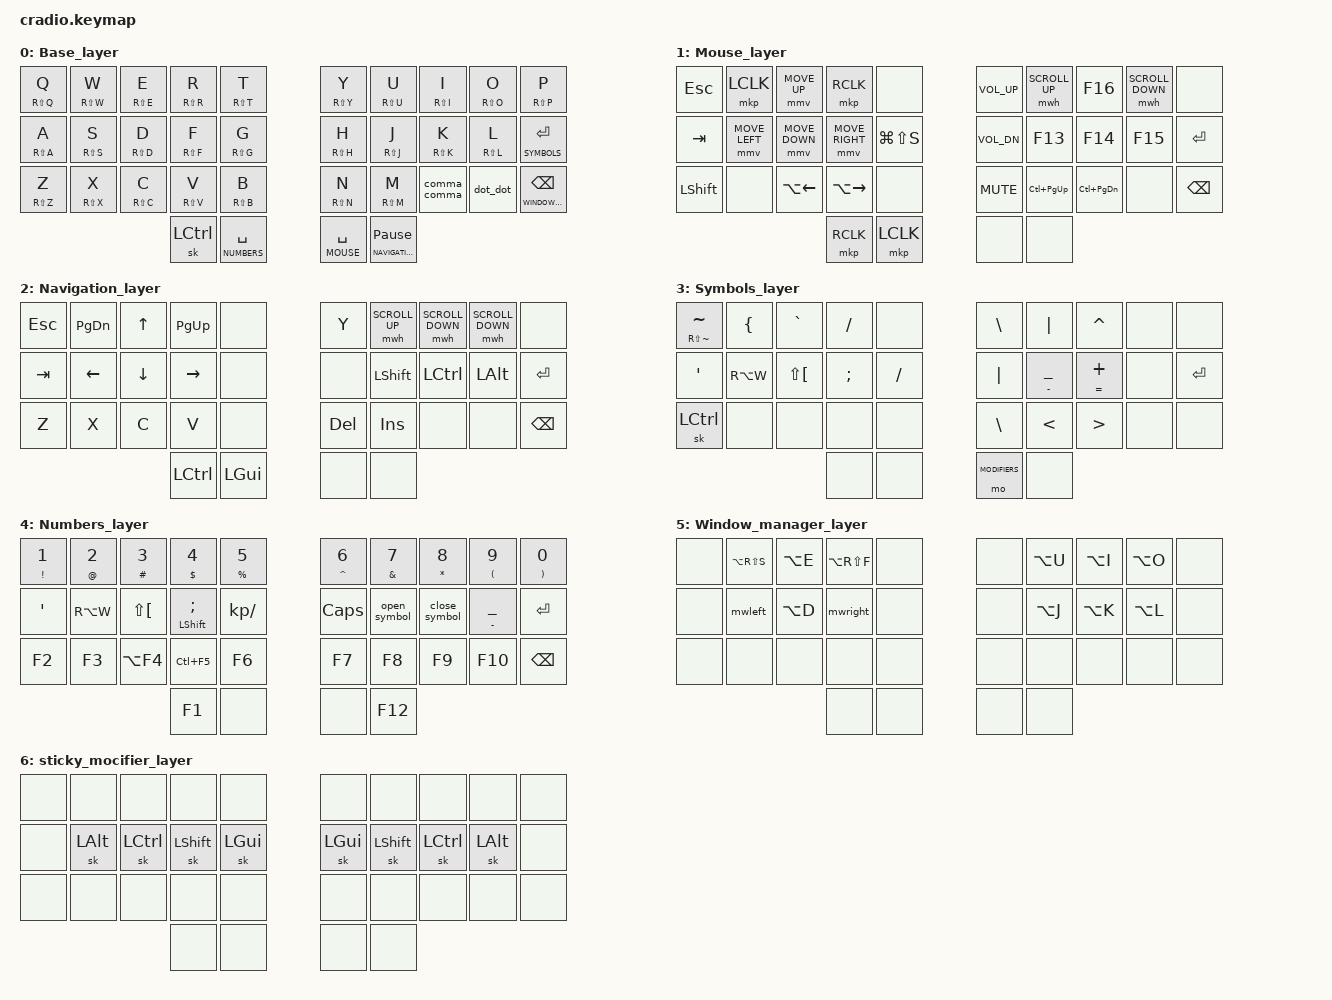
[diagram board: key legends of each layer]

#include <behaviors.dtsi>
#include <dt-bindings/zmk/keys.h>
#include <dt-bindings/zmk/outputs.h>
#include <dt-bindings/zmk/bt.h>
#include <dt-bindings/zmk/mouse.h>


#define BASE 0
#define NAVIGATION 1
#define MOUSE 2
#define SYMBOLS 3
#define NUMBERS 4
#define WINDOW_MANAGER 5
#define MODIFIERS 6



&mmv {
	time-to-max-speed-ms = <300>;
};

&mwh {
	acceleration-exponent=<1>;
};

&mt {
	tapping-term-ms = <300>;
	flavor = "tap-preferred";
};


/ { 

 /* ================== MACROS =========================*/

macros {
  mwleft: mwleft {
    label = "mwleft";
    compatible = "zmk,behavior-macro";
    #binding-cells = <0>;
    wait-ms = <10>;
	       bindings
                = <&macro_press &kp LGUI>
                , <&macro_tap &kp S>
                , <&macro_release &kp LGUI>
		, <&macro_tap_time 40>
		, <&macro_tap &kp PAUSE_BREAK>
                ;

    };

  mwright: mwright {
    label = "mwright";
    compatible = "zmk,behavior-macro";
    #binding-cells = <0>;
    wait-ms = <10>;
	       bindings
                = <&macro_press &kp LGUI>
                , <&macro_tap &kp F>
                , <&macro_release &kp LGUI>
		, <&macro_tap_time 40>
		, <&macro_tap &kp PAUSE_BREAK>
                ; 
    };

 };


 /* ================== COMBOS =========================*/

 combos {
   compatible = "zmk,combos";
 
 /* 
   ╭───────────────────────╮ ╭───────────────────────╮
   │   0   1   2   3   4   │ │   5   6   7   8   9   │
   │   10  11  12  13  14  │ │   15  16  17  18  19  │
   │   .   .   .   .   .   │ │   .   .   .   .   .   │
   ╰───────────╮   .   .   │ │   .   .   ╭───────────╯
               ╰───────────╯ ╰───────────╯
*/


   combo_ble1 {
     timeout-ms = <20>;
     key-positions = <0 1>;
     bindings = <&bt BT_SEL 1>;
   };

 
  combo_ble2 {
     timeout-ms = <20>;
     key-positions = <1 2>;
     bindings = <&bt BT_SEL 2>;
   };

 combo_tab {
     timeout-ms = <20>;
     key-positions = <12 13>;
     bindings = <&kp TAB>;
   };



  combo_back_tab {
     timeout-ms = <20>;
     key-positions = <12 13>;
     bindings = <&kp RS(TAB)>;
   };


  combo_enter {
     timeout-ms = <20>;
     key-positions = <12 13>;
     bindings = <&kp RETURN>;
   };


 };

behaviors {

   open_symbol: td_open {
     compatible = "zmk,behavior-tap-dance";
     label = "TD_OPEN";
     #binding-cells = <0>;
     tapping-term-ms = <200>;
     bindings = <&kp RS(RIGHT_BRACKET)>, <&kp RS(NUMBER_9)>, <&kp RIGHT_BRACKET>, <&kp LT>;
   };

   close_symbol: td_close {
     compatible = "zmk,behavior-tap-dance";
     label = "TD_CLOSE";
     #binding-cells = <0>;
     tapping-term-ms = <200>;
     bindings = <&kp RS(BACKSLASH)>, <&kp RS(NUMBER_0)>, <&kp BACKSLASH>, <&kp GT>;
   };

   dot_dot: dot_dot {
     compatible = "zmk,behavior-tap-dance";
     label = "DOT_DOT";
     #binding-cells = <0>;
     tapping-term-ms = <200>;
     bindings = <&kp PERIOD>, <&kp LS(SLASH)>;
  };

   comma_comma: comma_comma {
     compatible = "zmk,behavior-tap-dance";
     label = "COMMA_COMMA";
     #binding-cells = <0>;
     tapping-term-ms = <200>;
     bindings = <&kp COMMA>, <&kp SLASH>;
   };

 };

        keymap {
                compatible = "zmk,keymap";
                
			 /*                    BASE 
			 base layer contains autoshift on alpha chars
			 ╭──────────────────────╮ ╭──────────────────────╮
			 │   Q   W   E   R   T  │ │   Y   U   I   O   P  │
			 │   A   S   D   F   G  │ │   H   J   K   L   ENT│
			 │   Z   X   C   V   B  │ │   N   M   ,;  .:  LA │
			 ╰───────────╮   CTL SP │ │   NV  MOU╭───────────╯
			             ╰──────────╯ ╰──────────╯ 
		         */

			 Base_layer {
			   bindings = <
			     &mt RS(Q) Q      &mt RS(W) W    &mt RS(E) E    &mt RS(R) R    &mt RS(T) T         &mt RS(Y) Y     &mt RS(U) U    &mt RS(I) I    &mt RS(O) O   &mt RS(P) P 
			     &mt RS(A) A      &mt RS(S) S    &mt RS(D) D    &mt RS(F) F    &mt RS(G) G         &mt RS(H) H     &mt RS(J) J    &mt RS(K) K    &mt RS(L) L   &lt SYMBOLS RETURN 
			     &mt RS(Z) Z      &mt RS(X) X    &mt RS(C) C    &mt RS(V) V    &mt RS(B) B         &mt RS(N) N     &mt RS(M) M    &comma_comma   &dot_dot      &lt WINDOW_MANAGER BSPC
			     &sk LEFT_CONTROL &lt NUMBERS SPACE                                                &lt MOUSE SPACE &lt NAVIGATION PAUSE_BREAK
			   >;
			 };
			 
			 
			 /*                       MOUSE AND MEDIA CONTROL
			 ╭──────────────────────────────────────────╮ ╭───────────────────────────────────╮
			 │      ESC    LFTCL UP    RGTCL     .      │ │ VOLU SCRU SCRD SCRD    .    BSPC  │
			 │      TAB    LEFT  DOWN  RIGHT     .      │ │ VOLD MO1  MO2  MO3     .    ENT   │
			 │      LS     .     PAGEB PAGEF     .      │ │ MUTE PAGU PAGD .       .    LALT  │
			 ╰────────────────╮  LFTCL RGTCL     .      │ │                 ╭─────────────────╯
			                  ╰─────────────────────────╯ ╰─────────────────╯ 
			*/
			
		      Mouse_layer {
			     bindings = <
			     &kp ESC        &mkp LCLK      &mmv MOVE_UP   &mkp RCLK       &none                    &kp K_VOL_UP   &mwh SCROLL_UP     &kp F16           &mwh SCROLL_DOWN   &none
			     &kp TAB        &mmv MOVE_LEFT &mmv MOVE_DOWN &mmv MOVE_RIGHT &kp LG(LS(S))            &kp K_VOL_DN   &kp F13            &kp F14           &kp F15            &kp RETURN
			     &kp LEFT_SHIFT &none          &kp LA(LEFT)   &kp LA(RIGHT)   &none                    &kp K_MUTE     &kp LC(PAGE_UP)    &kp LC(PAGE_DOWN) &none              &kp BSPC
			     &mkp RCLK &mkp LCLK                                                                   &none           &none 
			   >;
			 };

			 /*                         NAVIGATION AND MODIFIERS
			 ╭─────────────────────────────────────╮ ╭─────────────────────────────────────╮
			 │     ESC   PAGDW  UP     PAGUP .     │ │     Y     HOME     END   END  BSPC  │
			 │     TAB   LEFT   DOWN   RIGHT .     │ │     .     LSHFT    LCTRL LALT ENT   │
			 │     Z     X      C      V     .     │ │     DEL   INST     .     .    LALT  │
			 ╰───────────────────────╮ LALT  LGUI  │ │     .     .     ╭───────────────────╯
			                         ╰─────────────╯ ╰─────────────────╯ 
			*/
			
			   Navigation_layer {
			     bindings = <
			       &kp ESC         &kp PAGE_DOWN &kp UP     &kp PAGE_UP  &none               &kp Y    &mwh SCROLL_UP       &mwh SCROLL_DOWN   &mwh SCROLL_DOWN   &none
			       &kp TAB         &kp LEFT      &kp DOWN   &kp RIGHT    &none               &none    &kp LEFT_SHIFT       &kp LEFT_CONTROL   &kp LALT           &kp RETURN
			       &kp Z           &kp X         &kp C      &kp V        &none               &kp DEL  &kp INSERT           &none              &none              &kp BSPC
			       &kp LEFT_CONTROL &kp LEFT_GUI                                             &none    &none 
			     >;
			 };

	
			 /*                         SYMBOLS AND MODIFIERS
			 ╭──────────────────────────────────╮ ╭──────────────────────────────────╮
			 │     ESC     '"    \     Blash │  │ │     ¨     <     >     (     )    │
			 │     TAB     ?     ^     .     \  │ │     │     ({    })    _-    =+ . │
			 │     LCTR    .     .     .     .  │ │     .     .     .     .     .    │ 
			 ╰────────────────╮        .     .  │ │     .     .     ╭────────────────╯
			                  ╰─────────────────╯ ╰─────────────────╯ 
			*/
			
			   Symbols_layer {
			     bindings = <
			       &mt RS(TILDE) TILDE  &kp LEFT_BRACE       &kp GRAV              &kp SLASH      &none                    &kp BACKSLASH    &kp PIPE          &kp CARET          &none             &none   
			       &kp SINGLE_QUOTE     &kp RA(W)            &kp LS(LEFT_BRACKET)  &kp SEMICOLON  &kp SLASH                &kp PIPE         &mt MINUS UNDER   &mt EQUAL PLUS     &none             &kp RETURN     
			       &sk LEFT_CONTROL     &none                &none                 &none          &none                    &kp BACKSLASH    &kp LT            &kp GT             &none             &none
			       &none                &none                                                                              &mo MODIFIERS    &none 
			    >;
			 };

			 /* FUNCTION, SIMBOLS AND NUMBERS
			    ╭────────────────────────────╮ ╭───────────────────────────────╮
			    │     1!   2@   3#   4$  5%  │ │    6¨   7&   8*    9(   0)    │
			    │     ~    ?    ^    .   \   │ │    CAPS .    .     F1   F12   │
			    │     F2   F3   F4   F5  F6  │ │    F7   F8   F9    F10  F11   │
			    ╰────────────────╮   .   .   │ │    .    .    ╭────────────────╯
			                     ╰───────────╯ ╰──────────────╯ 
			*/
			
			  Numbers_layer {
			    bindings = <
			      &mt EXCLAMATION NUMBER_1  &mt AT_SIGN NUMBER_2  &mt HASH NUMBER_3      &mt DOLLAR NUMBER_4      &mt PERCENT NUMBER_5           &mt CARET NUMBER_6   &mt AMPERSAND NUMBER_7  &mt ASTERISK NUMBER_8   &mt LEFT_PARENTHESIS NUMBER_9  &mt RIGHT_PARENTHESIS NUMBER_0 
			      &kp SINGLE_QUOTE          &kp RA(W)             &kp LS(LEFT_BRACKET)   &mt LEFT_SHIFT SEMICOLON &kp KP_SLASH                   &kp CAPS             &open_symbol            &close_symbol           &mt MINUS UNDER                &kp RETURN 
			      &kp F2                    &kp F3                &kp LA(F4)             &kp LC(F5)               &kp F6                         &kp F7               &kp F8                  &kp F9                  &kp F10                        &kp BSPC	
			      &kp F1                    &none                                                                                             &none              &kp F12 
			    >;
			 };



			  Window_manager_layer {
			    bindings = <
			      &none                    &kp LA(RS(S))          &kp LA(E)             &kp LA(RS(F))         &none                          &none                &kp LA(U)              &kp LA(I)                &kp LA(O)            &none
			      &none                    &mwleft                &kp LA(D)              &mwright             &none                          &none                &kp LA(J)              &kp LA(K)                &kp LA(L)	           &none
			      &none                    &none                  &none                 &none                 &none                          &none                &none                  &none                    &none                &none	
			      &none                    &none                                                                                             &none                &none 
			    >;
			 };
			 
			 
			 sticky_mocifier_layer {
			    bindings = <
			      &none                    &none                  &none                 &none                 &none                          &none                &none                  &none                    &none                &none
			      &none                    &sk LALT               &sk LEFT_CONTROL      &sk LEFT_SHIFT        &sk LEFT_GUI                   &sk LEFT_GUI         &sk LEFT_SHIFT         &sk LEFT_CONTROL         &sk LALT                &none
			      &none                    &none                  &none                 &none                 &none                          &none                &none                  &none                    &none                &none	
			      &none                    &none                                                                                             &none                &none 
			    >;
			 };

	};
	
};

/*
 Window_manager_layer {
			    bindings = <
			      &none                    &kp LG(RS(S))          &kp RS(LG(E))         &kp LG(RS(F))         &none                          &none                &kp RS(LG(U))          &kp RS(LG(I))            &kp RS(LG(O))        &none
			      &none                    &mwleft                &kp RS(LG(D))         &mwright              &kp RS(LG(G))                  &kp RS(LG(H))        &kp RS(LG(J))          &kp RS(LG(K))            &kp RS(LG(L))        &none
			      &none                    &none                  &none                 &none                 &none                          &none                &none                  &none                    &none                &none	
			      &none                    &none                                                                                             &none                &none 
			    >;
			 };
			 
			*/ 
